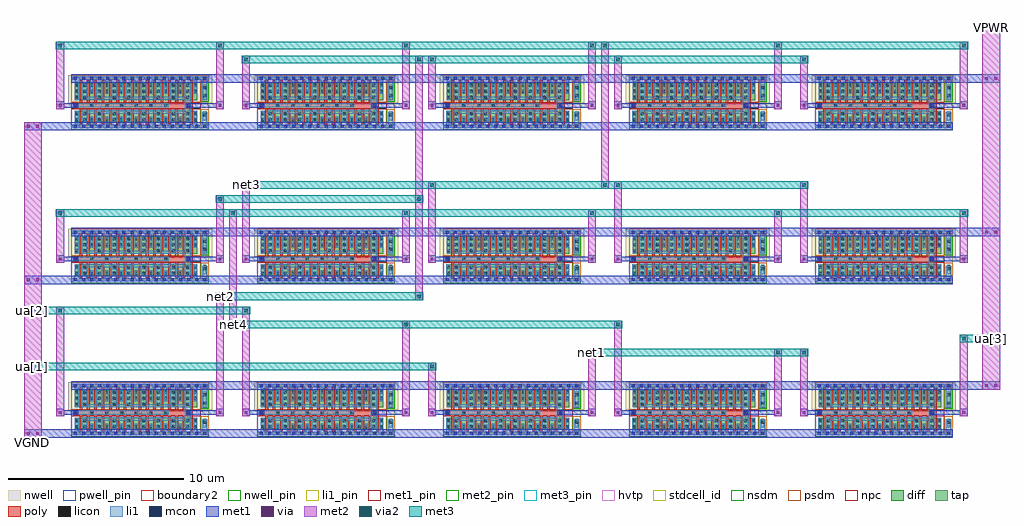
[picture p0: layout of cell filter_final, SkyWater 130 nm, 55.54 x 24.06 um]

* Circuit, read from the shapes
.subckt filter_final VGND VPWR net1 net2 net3 net4 ua[1] ua[2] ua[3]
XM1 net2 ua[2] VGND VGND sky130_fd_pr__nfet_01v8 w=0.65 l=0.15 m=16
XM2 net2 net4 VGND VGND sky130_fd_pr__nfet_01v8 w=0.65 l=0.15 m=16
XM3 net3 net3 VGND VGND sky130_fd_pr__nfet_01v8 w=0.65 l=0.15 m=16
XM4 net4 ua[2] VGND VGND sky130_fd_pr__nfet_01v8 w=0.65 l=0.15 m=16
XM5 net4 net3 VGND VGND sky130_fd_pr__nfet_01v8 w=0.65 l=0.15 m=64
XM6 net3 net2 VGND VGND sky130_fd_pr__nfet_01v8 w=0.65 l=0.15 m=64
XM7 net1 ua[1] VGND VGND sky130_fd_pr__nfet_01v8 w=0.65 l=0.15 m=16
XM8 net1 net4 VGND VGND sky130_fd_pr__nfet_01v8 w=0.65 l=0.15 m=16
XM9 ua[3] net1 VGND VGND sky130_fd_pr__nfet_01v8 w=0.65 l=0.15 m=16
XM10 net2 ua[2] VPWR VPWR sky130_fd_pr__pfet_01v8_hvt w=1 l=0.15 m=16
XM11 net2 net4 VPWR VPWR sky130_fd_pr__pfet_01v8_hvt w=1 l=0.15 m=16
XM12 net3 net3 VPWR VPWR sky130_fd_pr__pfet_01v8_hvt w=1 l=0.15 m=16
XM13 net4 ua[2] VPWR VPWR sky130_fd_pr__pfet_01v8_hvt w=1 l=0.15 m=16
XM14 net4 net3 VPWR VPWR sky130_fd_pr__pfet_01v8_hvt w=1 l=0.15 m=64
XM15 net3 net2 VPWR VPWR sky130_fd_pr__pfet_01v8_hvt w=1 l=0.15 m=64
XM16 net1 ua[1] VPWR VPWR sky130_fd_pr__pfet_01v8_hvt w=1 l=0.15 m=16
XM17 net1 net4 VPWR VPWR sky130_fd_pr__pfet_01v8_hvt w=1 l=0.15 m=16
XM18 ua[3] net1 VPWR VPWR sky130_fd_pr__pfet_01v8_hvt w=1 l=0.15 m=16
.ends

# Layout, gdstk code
import gdstk
lib = gdstk.Library(unit=1e-6, precision=1e-09)
def R(c, l, rs):  # rectangles x0, y0, x1, y1
    for r in rs: c.add(gdstk.rectangle(r[:2], r[2:], *l))
def A(c, l, x, y, w, h, nx, ny, dx, dy):  # array of equal rectangles
    R(c, l, [(x+i*dx, y+j*dy, x+i*dx+w, y+j*dy+h) for i in range(nx) for j in range(ny)])
def P(c, l, *ps):  # polygons
    for p in ps: c.add(gdstk.Polygon(p, *l))
nwell_pin = (64, 16)
nwell = (64, 20)
diff = (65, 20)
tap = (65, 44)
poly = (66, 20)
licon = (66, 44)
li1_pin = (67, 16)
li1 = (67, 20)
mcon = (67, 44)
met1_pin = (68, 16)
met1 = (68, 20)
via = (68, 44)
met2_pin = (69, 16)
met2 = (69, 20)
via2 = (69, 44)
met3_pin = (70, 16)
met3 = (70, 20)
hvtp = (78, 44)
stdcell_id = (81, 4)
nsdm = (93, 44)
psdm = (94, 20)
npc = (95, 20)
pwell_pin = (122, 16)
boundary2 = (236, 0)

sky130_fd_sc_hd__inv_16 = lib.new_cell('sky130_fd_sc_hd__inv_16')
R(sky130_fd_sc_hd__inv_16, nwell_pin, [(0.145,2.635,0.315,2.805)])
R(sky130_fd_sc_hd__inv_16, nwell, [(-0.19,1.305,7.55,2.91)])
R(sky130_fd_sc_hd__inv_16, diff, [(0.2,0.235,7.17,0.885), (0.2,1.485,7.17,2.485)])
P(sky130_fd_sc_hd__inv_16, poly, [(6.91,2.615),(6.76,2.615),(6.76,1.325),(6.49,1.325),(6.49,2.615),(6.34,2.615),(6.34,1.325),(6.07,1.325),(6.07,2.615),(5.92,2.615),(5.92,1.325),(5.65,1.325),(5.65,2.615),(5.5,2.615),(5.5,1.325),(5.23,1.325),(5.23,2.615),(5.08,2.615),(5.08,1.325),(4.81,1.325),(4.81,2.615),(4.66,2.615),(4.66,1.325),(4.39,1.325),(4.39,2.615),(4.24,2.615),(4.24,1.325),(3.97,1.325),(3.97,2.615),(3.82,2.615),(3.82,1.325),(3.55,1.325),(3.55,2.615),(3.4,2.615),(3.4,1.325),(3.13,1.325),(3.13,2.615),(2.98,2.615),(2.98,1.325),(2.71,1.325),(2.71,2.615),(2.56,2.615),(2.56,1.325),(2.29,1.325),(2.29,2.615),(2.14,2.615),(2.14,1.325),(1.87,1.325),(1.87,2.615),(1.72,2.615),(1.72,1.325),(1.45,1.325),(1.45,2.615),(1.3,2.615),(1.3,1.325),(1.03,1.325),(1.03,2.615),(0.88,2.615),(0.88,1.325),(0.61,1.325),(0.61,2.615),(0.46,2.615),(0.46,1.325),(0.13,1.325),(0.13,0.995),(0.46,0.995),(0.46,0.105),(0.61,0.105),(0.61,0.995),(0.88,0.995),(0.88,0.105),(1.03,0.105),(1.03,0.995),(1.3,0.995),(1.3,0.105),(1.45,0.105),(1.45,0.995),(1.72,0.995),(1.72,0.105),(1.87,0.105),(1.87,0.995),(2.14,0.995),(2.14,0.105),(2.29,0.105),(2.29,0.995),(2.56,0.995),(2.56,0.105),(2.71,0.105),(2.71,0.995),(2.98,0.995),(2.98,0.105),(3.13,0.105),(3.13,0.995),(3.4,0.995),(3.4,0.105),(3.55,0.105),(3.55,0.995),(3.82,0.995),(3.82,0.105),(3.97,0.105),(3.97,0.995),(4.24,0.995),(4.24,0.105),(4.39,0.105),(4.39,0.995),(4.66,0.995),(4.66,0.105),(4.81,0.105),(4.81,0.995),(5.08,0.995),(5.08,0.105),(5.23,0.105),(5.23,0.995),(5.5,0.995),(5.5,0.105),(5.65,0.105),(5.65,0.995),(5.92,0.995),(5.92,0.105),(6.07,0.105),(6.07,0.995),(6.34,0.995),(6.34,0.105),(6.49,0.105),(6.49,0.995),(6.76,0.995),(6.76,0.105),(6.91,0.105)])
A(sky130_fd_sc_hd__inv_16, licon, 0.24, 0.295, 0.17, 0.17, 17, 2, 0.42, 1.62)
A(sky130_fd_sc_hd__inv_16, licon, 0.66, 0.635, 0.17, 0.17, 8, 2, 0.84, 0.93)
A(sky130_fd_sc_hd__inv_16, licon, 0.24, 2.255, 0.17, 0.17, 17, 1, 0.42, 0)
R(sky130_fd_sc_hd__inv_16, licon, [(0.24,0.635,0.41,0.805), (6.96,0.635,7.13,0.805), (0.21,1.075,0.38,1.245), (1.08,1.075,1.25,1.245), (1.92,1.075,2.09,1.245), (2.765,1.075,2.935,1.245), (3.6,1.075,3.77,1.245), (4.44,1.075,4.61,1.245), (5.275,1.075,5.445,1.245), (0.24,1.565,0.41,1.735)])
A(sky130_fd_sc_hd__inv_16, li1_pin, 0.145, 1.105, 0.17, 0.17, 5, 1, 0.92, 0)
R(sky130_fd_sc_hd__inv_16, li1_pin, [(6.585,0.765,6.755,0.935), (4.285,1.105,4.455,1.275), (6.585,1.105,6.755,1.275)])
R(sky130_fd_sc_hd__inv_16, li1, [(0.085,1.075,5.525,1.315)])
P(sky130_fd_sc_hd__inv_16, li1, [(6.79,2.465),(6.46,2.465),(6.46,1.665),(5.95,1.665),(5.95,2.465),(5.62,2.465),(5.62,1.665),(5.11,1.665),(5.11,2.465),(4.78,2.465),(4.78,1.665),(4.27,1.665),(4.27,2.465),(3.94,2.465),(3.94,1.665),(3.43,1.665),(3.43,2.465),(3.1,2.465),(3.1,1.665),(2.59,1.665),(2.59,2.465),(2.26,2.465),(2.26,1.665),(1.75,1.665),(1.75,2.465),(1.42,2.465),(1.42,1.665),(0.91,1.665),(0.91,2.465),(0.58,2.465),(0.58,1.495),(6.46,1.495),(6.46,0.905),(0.58,0.905),(0.58,0.255),(0.91,0.255),(0.91,0.715),(1.42,0.715),(1.42,0.255),(1.75,0.255),(1.75,0.715),(2.26,0.715),(2.26,0.255),(2.59,0.255),(2.59,0.715),(3.1,0.715),(3.1,0.255),(3.43,0.255),(3.43,0.715),(3.94,0.715),(3.94,0.255),(4.27,0.255),(4.27,0.715),(4.78,0.715),(4.78,0.255),(5.11,0.255),(5.11,0.715),(5.62,0.715),(5.62,0.255),(5.95,0.255),(5.95,0.715),(6.46,0.715),(6.46,0.255),(6.79,0.255)],
  [(7.36,0.085),(7.17,0.085),(7.17,0.885),(6.96,0.885),(6.96,0.085),(6.29,0.085),(6.29,0.545),(6.12,0.545),(6.12,0.085),(5.45,0.085),(5.45,0.545),(5.28,0.545),(5.28,0.085),(4.61,0.085),(4.61,0.545),(4.44,0.545),(4.44,0.085),(3.77,0.085),(3.77,0.545),(3.6,0.545),(3.6,0.085),(2.93,0.085),(2.93,0.545),(2.76,0.545),(2.76,0.085),(2.09,0.085),(2.09,0.545),(1.92,0.545),(1.92,0.085),(1.25,0.085),(1.25,0.545),(1.08,0.545),(1.08,0.085),(0.41,0.085),(0.41,0.885),(0.18,0.885),(0.18,0.085),(0,0.085),(0,-0.085),(7.36,-0.085)],
  [(7.36,2.805),(0,2.805),(0,2.635),(0.2,2.635),(0.2,1.485),(0.41,1.485),(0.41,2.635),(1.08,2.635),(1.08,1.835),(1.25,1.835),(1.25,2.635),(1.92,2.635),(1.92,1.835),(2.09,1.835),(2.09,2.635),(2.76,2.635),(2.76,1.835),(2.93,1.835),(2.93,2.635),(3.6,2.635),(3.6,1.835),(3.77,1.835),(3.77,2.635),(4.44,2.635),(4.44,1.835),(4.61,1.835),(4.61,2.635),(5.28,2.635),(5.28,1.835),(5.45,1.835),(5.45,2.635),(6.12,2.635),(6.12,1.835),(6.29,1.835),(6.29,2.635),(6.96,2.635),(6.96,1.835),(7.17,1.835),(7.17,2.635),(7.36,2.635)])
A(sky130_fd_sc_hd__inv_16, mcon, 0.145, -0.085, 0.17, 0.17, 16, 2, 0.46, 2.72)
R(sky130_fd_sc_hd__inv_16, met1_pin, [(0.145,-0.085,0.315,0.085), (0.145,2.635,0.315,2.805)])
R(sky130_fd_sc_hd__inv_16, hvtp, [(0,1.25,7.36,2.72)])
R(sky130_fd_sc_hd__inv_16, stdcell_id, [(0,0,7.36,2.72)])
R(sky130_fd_sc_hd__inv_16, nsdm, [(0,-0.19,7.36,1.015)])
R(sky130_fd_sc_hd__inv_16, psdm, [(0,1.355,7.36,2.91)])
R(sky130_fd_sc_hd__inv_16, npc, [(0,0.975,7.36,1.345)])
R(sky130_fd_sc_hd__inv_16, pwell_pin, [(0.145,-0.085,0.315,0.085)])
R(sky130_fd_sc_hd__inv_16, boundary2, [(0,0,7.36,2.72)])
sky130_fd_sc_hd__inv_16.add(gdstk.FlexPath([(0,2.72),(7.36,2.72)], 0.48, ends="flush", simple_path=True, layer=68, datatype=20))  # met1
sky130_fd_sc_hd__inv_16.add(gdstk.FlexPath([(0,0),(7.36,0)], 0.48, ends="flush", simple_path=True, layer=68, datatype=20))  # met1
sky130_fd_sc_hd__inv_16.add(gdstk.Label('Y', (6.67,1.19), layer=67, texttype=5))
sky130_fd_sc_hd__inv_16.add(gdstk.Label('Y', (6.67,0.85), layer=67, texttype=5))
sky130_fd_sc_hd__inv_16.add(gdstk.Label('A', (0.23,1.19), layer=67, texttype=5))
sky130_fd_sc_hd__inv_16.add(gdstk.Label('A', (2.07,1.19), layer=67, texttype=5))
sky130_fd_sc_hd__inv_16.add(gdstk.Label('A', (3.91,1.19), layer=67, texttype=5))
sky130_fd_sc_hd__inv_16.add(gdstk.Label('A', (4.37,1.19), layer=67, texttype=5))
sky130_fd_sc_hd__inv_16.add(gdstk.Label('VPB', (0.23,2.72), layer=64, texttype=5))
sky130_fd_sc_hd__inv_16.add(gdstk.Label('VNB', (0.23,0), layer=64, texttype=59))
sky130_fd_sc_hd__inv_16.add(gdstk.Label('VGND', (0.23,0), layer=68, texttype=5))
sky130_fd_sc_hd__inv_16.add(gdstk.Label('VPWR', (0.23,2.72), layer=68, texttype=5))
sky130_fd_sc_hd__inv_16.add(gdstk.Label('inv_16', (0,0), layer=83, texttype=44))

sky130_fd_sc_hd__tapvpwr = lib.new_cell('sky130_fd_sc_hd__tapvpwrvgnd_1')
R(sky130_fd_sc_hd__tapvpwr, nwell, [(-0.19,1.305,0.65,2.91)])
R(sky130_fd_sc_hd__tapvpwr, tap, [(0.145,0.32,0.315,0.845), (0.145,1.525,0.315,2.4)])
R(sky130_fd_sc_hd__tapvpwr, licon, [(0.145,0.555,0.315,0.725), (0.145,1.645,0.315,1.815), (0.145,2.11,0.315,2.28)])
R(sky130_fd_sc_hd__tapvpwr, li1, [(0,-0.085,0.46,0.085), (0.085,0,0.375,0.81), (0.085,1.47,0.375,2.72), (0,2.635,0.46,2.805)])
R(sky130_fd_sc_hd__tapvpwr, mcon, [(0.145,-0.085,0.315,0.085), (0.145,2.635,0.315,2.805)])
R(sky130_fd_sc_hd__tapvpwr, met1_pin, [(0.105,-0.09,0.36,0.1), (0.11,2.62,0.375,2.765)])
R(sky130_fd_sc_hd__tapvpwr, met1, [(0,-0.24,0.46,0.24), (0,2.48,0.46,2.96)])
R(sky130_fd_sc_hd__tapvpwr, hvtp, [(0,1.25,0.46,2.72)])
R(sky130_fd_sc_hd__tapvpwr, stdcell_id, [(0,0,0.46,2.72)])
R(sky130_fd_sc_hd__tapvpwr, nsdm, [(0,-0.19,0.46,0.19), (0,1.395,0.46,2.53)])
R(sky130_fd_sc_hd__tapvpwr, psdm, [(0,0.19,0.46,0.975), (0,2.53,0.46,2.91)])
sky130_fd_sc_hd__tapvpwr.add(gdstk.Label('VPWR', (0.23,2.72), layer=68, texttype=5))
sky130_fd_sc_hd__tapvpwr.add(gdstk.Label('VGND', (0.23,0), layer=68, texttype=5))
sky130_fd_sc_hd__tapvpwr.add(gdstk.Label('tapvpwrvgnd_1', (0,0), layer=83, texttype=44))

filter_final = lib.new_cell('filter_final')
A(filter_final, li1, 0.145, 1.105, 0.17, 0.17, 1, 3, 0, 8.74)
A(filter_final, li1, 6.585, 1.105, 0.17, 0.17, 1, 3, 0, 8.74)
A(filter_final, li1, 10.725, 1.105, 0.17, 0.17, 1, 3, 0, 8.74)
A(filter_final, li1, 17.165, 1.105, 0.17, 0.17, 1, 3, 0, 8.74)
A(filter_final, li1, 21.305, 1.105, 0.17, 0.17, 1, 3, 0, 8.74)
A(filter_final, li1, 27.745, 1.105, 0.17, 0.17, 1, 3, 0, 8.74)
A(filter_final, li1, 31.885, 1.105, 0.17, 0.17, 1, 3, 0, 8.74)
A(filter_final, li1, 38.325, 1.105, 0.17, 0.17, 1, 3, 0, 8.74)
A(filter_final, li1, 42.465, 1.105, 0.17, 0.17, 1, 3, 0, 8.74)
A(filter_final, li1, 48.905, 1.105, 0.17, 0.17, 1, 3, 0, 8.74)
A(filter_final, mcon, 0.145, 1.105, 0.17, 0.17, 1, 3, 0, 8.74)
A(filter_final, mcon, 6.585, 1.105, 0.17, 0.17, 1, 3, 0, 8.74)
A(filter_final, mcon, 10.725, 1.105, 0.17, 0.17, 1, 3, 0, 8.74)
A(filter_final, mcon, 17.165, 1.105, 0.17, 0.17, 1, 3, 0, 8.74)
A(filter_final, mcon, 21.305, 1.105, 0.17, 0.17, 1, 3, 0, 8.74)
A(filter_final, mcon, 27.745, 1.105, 0.17, 0.17, 1, 3, 0, 8.74)
A(filter_final, mcon, 31.885, 1.105, 0.17, 0.17, 1, 3, 0, 8.74)
A(filter_final, mcon, 38.325, 1.105, 0.17, 0.17, 1, 3, 0, 8.74)
A(filter_final, mcon, 42.465, 1.105, 0.17, 0.17, 1, 3, 0, 8.74)
A(filter_final, mcon, 48.905, 1.105, 0.17, 0.17, 1, 3, 0, 8.74)
A(filter_final, met1, -2.7, -0.24, 2.7, 0.48, 1, 3, 0, 8.74)
A(filter_final, met1, 7.82, -0.24, 2.76, 0.48, 4, 2, 10.58, 2.72)
A(filter_final, met1, -0.86, 1.065, 1.24, 0.25, 5, 3, 10.58, 8.74)
A(filter_final, met1, 6.52, 1.065, 2.16, 0.25, 5, 3, 10.58, 8.74)
A(filter_final, met1, 50.14, 2.48, 2.7, 0.48, 1, 3, 0, 8.74)
A(filter_final, met1, 7.82, 8.5, 2.76, 0.48, 4, 2, 10.58, 2.72)
A(filter_final, met1, 7.82, 17.24, 2.76, 0.48, 4, 2, 10.58, 2.72)
R(filter_final, met1, [(-0.86,0.97,-0.42,1.065), (8.24,0.97,8.68,1.065), (9.72,0.97,10.16,1.065), (18.82,0.97,19.26,1.065), (20.3,0.97,20.74,1.065), (29.4,0.97,29.84,1.065), (30.88,0.97,31.32,1.065), (39.98,0.97,40.42,1.065), (41.46,0.97,41.9,1.065), (50.56,0.97,51,1.065), (-0.86,1.315,-0.42,1.41), (8.24,1.315,8.68,1.41), (9.72,1.315,10.16,1.41), (18.82,1.315,19.26,1.41), (20.3,1.315,20.74,1.41), (29.4,1.315,29.84,1.41), (30.88,1.315,31.32,1.41), (39.98,1.315,40.42,1.41), (41.46,1.315,41.9,1.41), (50.56,1.315,51,1.41), (-0.86,9.71,-0.42,9.805), (8.24,9.71,8.68,9.805), (9.72,9.71,10.16,9.805), (18.82,9.71,19.26,9.805), (20.3,9.71,20.74,9.805), (29.4,9.71,29.84,9.805), (30.88,9.71,31.32,9.805), (39.98,9.71,40.42,9.805), (41.46,9.71,41.9,9.805), (50.56,9.71,51,9.805), (-0.86,10.055,-0.42,10.15), (8.24,10.055,8.68,10.15), (9.72,10.055,10.16,10.15), (18.82,10.055,19.26,10.15), (20.3,10.055,20.74,10.15), (29.4,10.055,29.84,10.15), (30.88,10.055,31.32,10.15), (39.98,10.055,40.42,10.15), (41.46,10.055,41.9,10.15), (50.56,10.055,51,10.15), (-0.86,18.45,-0.42,18.545), (8.24,18.45,8.68,18.545), (9.72,18.45,10.16,18.545), (18.82,18.45,19.26,18.545), (20.3,18.45,20.74,18.545), (29.4,18.45,29.84,18.545), (30.88,18.45,31.32,18.545), (39.98,18.45,40.42,18.545), (41.46,18.45,41.9,18.545), (50.56,18.45,51,18.545), (-0.86,18.795,-0.42,18.89), (8.24,18.795,8.68,18.89), (9.72,18.795,10.16,18.89), (18.82,18.795,19.26,18.89), (20.3,18.795,20.74,18.89), (29.4,18.795,29.84,18.89), (30.88,18.795,31.32,18.89), (39.98,18.795,40.42,18.89), (41.46,18.795,41.9,18.89), (50.56,18.795,51,18.89)])
A(filter_final, via, -2.535, -0.075, 0.15, 0.15, 1, 3, 0, 8.74)
A(filter_final, via, -2.015, -0.075, 0.15, 0.15, 1, 3, 0, 8.74)
A(filter_final, via, -0.715, 1.115, 0.15, 0.15, 1, 3, 0, 8.74)
A(filter_final, via, 8.385, 1.115, 0.15, 0.15, 1, 3, 0, 8.74)
A(filter_final, via, 9.865, 1.115, 0.15, 0.15, 1, 3, 0, 8.74)
A(filter_final, via, 18.965, 1.115, 0.15, 0.15, 1, 3, 0, 8.74)
A(filter_final, via, 20.445, 1.115, 0.15, 0.15, 1, 3, 0, 8.74)
A(filter_final, via, 29.545, 1.115, 0.15, 0.15, 1, 3, 0, 8.74)
A(filter_final, via, 31.025, 1.115, 0.15, 0.15, 1, 3, 0, 8.74)
A(filter_final, via, 40.125, 1.115, 0.15, 0.15, 1, 3, 0, 8.74)
A(filter_final, via, 41.605, 1.115, 0.15, 0.15, 1, 3, 0, 8.74)
A(filter_final, via, 50.705, 1.115, 0.15, 0.15, 1, 3, 0, 8.74)
A(filter_final, via, 52.005, 2.645, 0.15, 0.15, 1, 3, 0, 8.74)
A(filter_final, via, 52.525, 2.645, 0.15, 0.15, 1, 3, 0, 8.74)
R(filter_final, met2_pin, [(-2.38,-0.68,-2.02,-0.32), (52.16,22.9,52.52,23.26)])
A(filter_final, met2, 9.72, 9.71, 0.44, 4.65, 4, 1, 10.58, 0)
A(filter_final, met2, 18.82, 9.71, 0.44, 3.05, 4, 1, 10.58, 0)
A(filter_final, met2, 8.24, 18.45, 0.44, 3.85, 5, 1, 10.58, 0)
A(filter_final, met2, 9.72, 18.45, 0.44, 3.05, 4, 1, 10.58, 0)
R(filter_final, met2, [(-2.7,-0.74,-1.7,17.72), (-0.86,0.97,-0.42,7.22), (8.24,0.97,8.68,8.02), (9.72,0.97,10.16,7.22), (18.82,0.97,19.26,6.42), (20.3,0.97,20.74,4.02), (29.4,0.97,29.84,4.82), (30.88,0.97,31.32,6.42), (39.98,0.97,40.42,4.82), (41.46,0.97,41.9,4.82), (50.56,0.97,51,5.62), (51.84,2.48,52.84,23.32), (8.98,5.98,9.42,12.76), (19.56,7.58,20,21.5), (-0.86,9.71,-0.42,12.76), (8.24,9.71,8.68,13.56), (30.14,13.92,30.58,22.3), (-0.86,18.45,-0.42,22.3)])
A(filter_final, via2, 9.84, 6.9, 0.2, 0.2, 1, 3, 0, 7.14)
A(filter_final, via2, -0.74, 12.44, 0.2, 0.2, 3, 1, 9.84, 0)
A(filter_final, via2, 29.52, 12.44, 0.2, 0.2, 3, 1, 10.58, 0)
A(filter_final, via2, 20.42, 21.18, 0.2, 0.2, 3, 1, 10.58, 0)
A(filter_final, via2, 8.36, 21.98, 0.2, 0.2, 3, 1, 10.58, 0)
R(filter_final, via2, [(20.42,3.7,20.62,3.9), (29.52,4.5,29.72,4.7), (40.1,4.5,40.3,4.7), (41.58,4.5,41.78,4.7), (50.68,5.3,50.88,5.5), (9.1,6.1,9.3,6.3), (18.94,6.1,19.14,6.3), (31,6.1,31.2,6.3), (-0.74,6.9,-0.54,7.1), (8.36,7.7,8.56,7.9), (19.68,7.7,19.88,7.9), (8.36,13.24,8.56,13.44), (19.68,13.24,19.88,13.44), (20.42,14.04,20.62,14.24), (30.26,14.04,30.46,14.24), (31,14.04,31.2,14.24), (41.58,14.04,41.78,14.24), (19.68,21.18,19.88,21.38), (-0.74,21.98,-0.54,22.18), (30.26,21.98,30.46,22.18), (40.1,21.98,40.3,22.18), (50.68,21.98,50.88,22.18)])
R(filter_final, met3_pin, [(-2.38,3.62,-2.02,3.98), (52.16,5.22,52.52,5.58), (-2.38,6.82,-2.02,7.18)])
R(filter_final, met3, [(-2.44,3.58,20.76,4.02), (29.38,4.38,41.92,4.82), (50.54,5.18,52.58,5.62), (8.96,5.98,31.34,6.42), (-2.44,6.78,10.18,7.22), (8.22,7.58,20.02,8.02), (-0.88,12.32,51.02,12.76), (8.22,13.12,20.02,13.56), (9.7,13.92,41.92,14.36), (9.7,21.06,41.92,21.5), (-0.88,21.86,51.02,22.3)])
filter_final.add(gdstk.Reference(sky130_fd_sc_hd__inv_16, (21.16,0)))
filter_final.add(gdstk.Reference(sky130_fd_sc_hd__inv_16, (42.32,0)))
filter_final.add(gdstk.Reference(sky130_fd_sc_hd__inv_16, (31.74,0)))
filter_final.add(gdstk.Reference(sky130_fd_sc_hd__inv_16, (0,8.74)))
filter_final.add(gdstk.Reference(sky130_fd_sc_hd__inv_16, (10.58,0)))
filter_final.add(gdstk.Reference(sky130_fd_sc_hd__inv_16, (10.58,8.74)))
filter_final.add(gdstk.Reference(sky130_fd_sc_hd__inv_16, (21.16,8.74)))
filter_final.add(gdstk.Reference(sky130_fd_sc_hd__inv_16, (31.74,8.74)))
filter_final.add(gdstk.Reference(sky130_fd_sc_hd__inv_16, (42.32,8.74)))
filter_final.add(gdstk.Reference(sky130_fd_sc_hd__inv_16, (0,17.48)))
filter_final.add(gdstk.Reference(sky130_fd_sc_hd__inv_16, (10.58,17.48)))
filter_final.add(gdstk.Reference(sky130_fd_sc_hd__inv_16, (21.16,17.48)))
filter_final.add(gdstk.Reference(sky130_fd_sc_hd__inv_16, (31.74,17.48)))
filter_final.add(gdstk.Reference(sky130_fd_sc_hd__inv_16, (42.32,17.48)))
filter_final.add(gdstk.Reference(sky130_fd_sc_hd__inv_16, (0,0)))
filter_final.add(gdstk.Reference(sky130_fd_sc_hd__tapvpwr, (28.52,0)))
filter_final.add(gdstk.Reference(sky130_fd_sc_hd__tapvpwr, (49.68,0)))
filter_final.add(gdstk.Reference(sky130_fd_sc_hd__tapvpwr, (39.1,0)))
filter_final.add(gdstk.Reference(sky130_fd_sc_hd__tapvpwr, (7.36,8.74)))
filter_final.add(gdstk.Reference(sky130_fd_sc_hd__tapvpwr, (17.94,0)))
filter_final.add(gdstk.Reference(sky130_fd_sc_hd__tapvpwr, (17.94,8.74)))
filter_final.add(gdstk.Reference(sky130_fd_sc_hd__tapvpwr, (28.52,8.74)))
filter_final.add(gdstk.Reference(sky130_fd_sc_hd__tapvpwr, (39.1,8.74)))
filter_final.add(gdstk.Reference(sky130_fd_sc_hd__tapvpwr, (49.68,8.74)))
filter_final.add(gdstk.Reference(sky130_fd_sc_hd__tapvpwr, (7.36,17.48)))
filter_final.add(gdstk.Reference(sky130_fd_sc_hd__tapvpwr, (17.94,17.48)))
filter_final.add(gdstk.Reference(sky130_fd_sc_hd__tapvpwr, (28.52,17.48)))
filter_final.add(gdstk.Reference(sky130_fd_sc_hd__tapvpwr, (39.1,17.48)))
filter_final.add(gdstk.Reference(sky130_fd_sc_hd__tapvpwr, (49.68,17.48)))
filter_final.add(gdstk.Reference(sky130_fd_sc_hd__tapvpwr, (7.36,0)))
filter_final.add(gdstk.Label('net1', (29.62,4.6), layer=70, texttype=5))
filter_final.add(gdstk.Label('net4', (9.2,6.2), layer=70, texttype=5))
filter_final.add(gdstk.Label('net2', (8.46,7.8), layer=70, texttype=5))
filter_final.add(gdstk.Label('net3', (9.94,14.14), layer=70, texttype=5))
filter_final.add(gdstk.Label('ua[1]', (-2.2,3.8), layer=70, texttype=5))
filter_final.add(gdstk.Label('ua[2]', (-2.2,7), layer=70, texttype=5))
filter_final.add(gdstk.Label('ua[3]', (52.34,5.4), layer=70, texttype=5))
filter_final.add(gdstk.Label('VPWR', (52.34,23.08), layer=69, texttype=5))
filter_final.add(gdstk.Label('VGND', (-2.2,-0.5), layer=69, texttype=5))

lib.write_gds('filter_final.gds')
